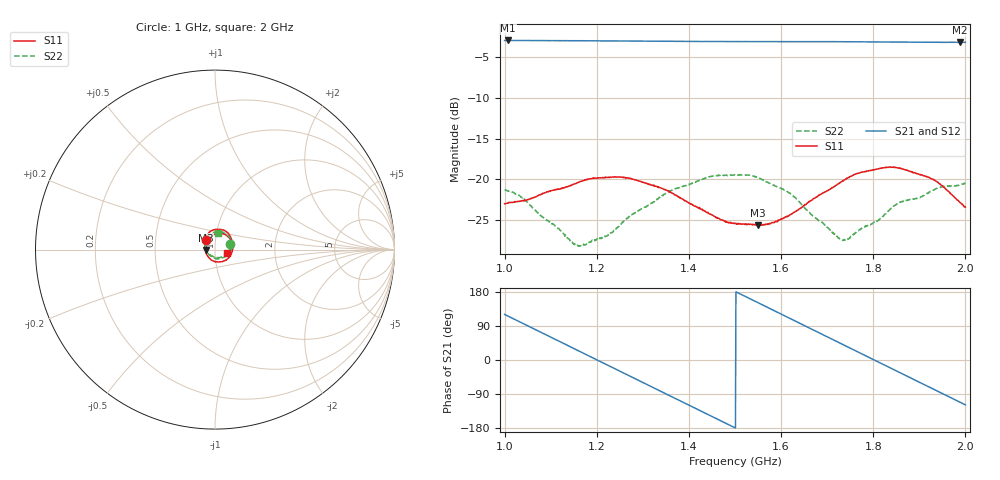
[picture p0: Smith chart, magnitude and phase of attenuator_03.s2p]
#  HZ  S  DB  R  50.00
! Rohde & Schwarz Vector Network Analyzer
! Rohde-Schwarz,ZNB8-4Port,1311601044102961,2.82
! Created: UTC 3/4/2022, 3:50:28 PM
! freq[Hz]  db:S11  ang:S11  db:S21  ang:S21  db:S12  ang:S12  db:S22  ang:S22
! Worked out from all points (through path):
!   1001 points, 1 GHz to 2 GHz, reference 50 ohm
!   highest |S21| = -3.01 dB at 1.008 GHz (marker M1); lowest = -3.2 dB at 1.988 GHz (marker M2)
!   group delay of S21, straight-line fit = 1.66 ns
!   lowest |S11| = -25.6 dB at 1.55 GHz (marker M3), VSWR 1.11, Z = 45 - j0.373 ohm
!   |S11| at or under -10 dB: start of sweep to end of sweep
!   |S22| runs from -28.2 to -19.4 dB; largest |S21 - S12| = 0.002
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1e9  -22.97 132.2  -3.01 120.3  -3.00 120.3  -21.25 20.4
1.008e9  -22.88 128.7  -3.01 115.5  -3.00 115.5  -21.38 15.0
1.046e9  -22.53 114.7  -3.02 92.8  -3.01 92.8  -22.62 -7.2
1.084e9  -21.70 101.6  -3.02 70.0  -3.01 70.1  -24.67 -36.4
1.167e9  -20.24 66.4  -3.05 20.3  -3.03 20.3  -28.15 -117.9
1.205e9  -19.81 47.6  -3.06 -2.4  -3.05 -2.4  -27.12 -154.5
1.244e9  -19.72 27.5  -3.07 -25.8  -3.07 -25.9  -25.91 171.4
1.292e9  -20.22 -1.4  -3.09 -54.6  -3.08 -54.5  -23.76 145.3
1.334e9  -20.99 -27.7  -3.10 -79.7  -3.09 -79.7  -22.28 123.9
1.408e9  -23.13 -78.7  -3.13 -123.9  -3.12 -123.9  -20.46 92.6
1.457e9  -24.55 -116.4  -3.14 -153.3  -3.14 -153.2  -19.52 72.0
1.5e9  -25.35 -145.7  -3.15 -178.9  -3.14 -178.9  -19.44 50.9
1.55e9  -25.62 -175.5  -3.15 151.2  -3.14 151.2  -19.76 26.5
1.611e9  -24.55 159.4  -3.15 114.7  -3.14 114.7  -21.38 -10.3
1.667e9  -22.51 140.5  -3.15 81.1  -3.14 81.1  -24.34 -52.5
1.729e9  -20.37 114.6  -3.16 43.9  -3.16 43.9  -27.27 -116.5
1.756e9  -19.51 102.2  -3.17 27.7  -3.17 27.7  -26.74 -152.6
1.795e9  -18.91 83.1  -3.19 4.3  -3.19 4.4  -25.49 173.4
1.834e9  -18.49 63.6  -3.20 -19.1  -3.20 -19.0  -23.79 142.2
1.915e9  -19.65 22.2  -3.22 -67.6  -3.22 -67.5  -21.79 106.0
1.988e9  -22.81 -12.5  -3.24 -111.2  -3.24 -111.2  -20.68 83.6
2e9  -23.38 -18.3  -3.24 -118.4  -3.24 -118.4  -20.45 78.8
